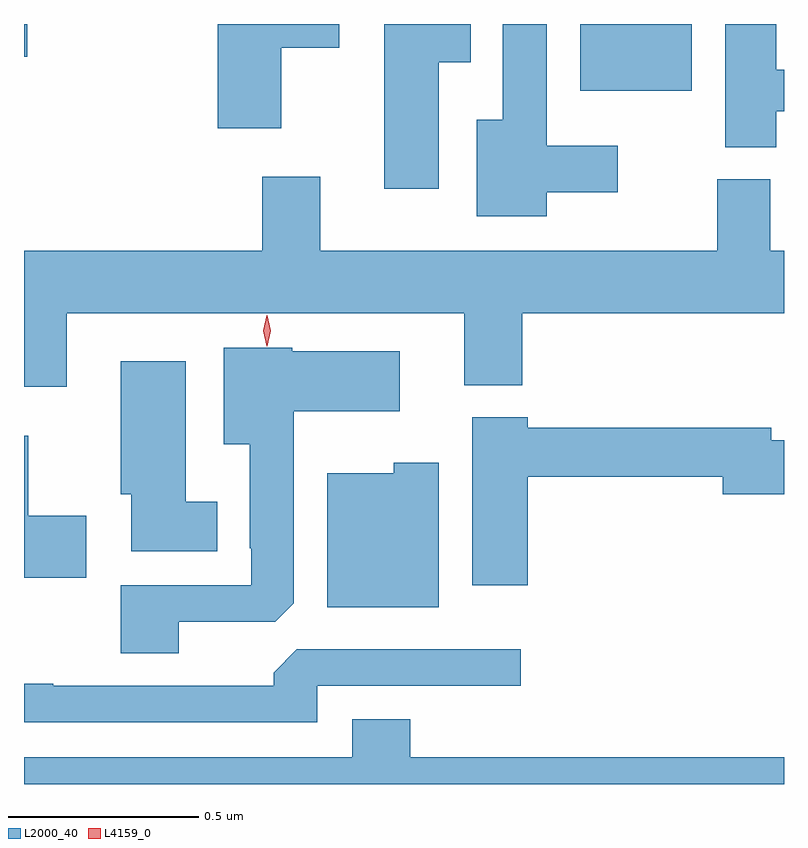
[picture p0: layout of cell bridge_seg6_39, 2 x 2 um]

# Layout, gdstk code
import gdstk
lib = gdstk.Library(unit=1e-6, precision=1e-09)
def R(c, l, rs):  # rectangles x0, y0, x1, y1
    for r in rs: c.add(gdstk.rectangle(r[:2], r[2:], *l))
def P(c, l, *ps):  # polygons
    for p in ps: c.add(gdstk.Polygon(p, *l))
L2000_40 = (2000, 40)
L4159_0 = (4159, 0)

bridge_seg6_39 = lib.new_cell('bridge_seg6_39')
R(bridge_seg6_39, L2000_40, [(1056.743,994.541,1057.036,994.717), (1055.279,994.631,1055.287,994.717)])
P(bridge_seg6_39, L2000_40, [(1057.258,994.487),(1057.279,994.487),(1057.279,994.597),(1057.258,994.597),(1057.258,994.717),(1057.124,994.717),(1057.124,994.393),(1057.258,994.393)],
  [(1056.37,994.616),(1056.454,994.616),(1056.454,994.717),(1056.227,994.717),(1056.227,994.284),(1056.37,994.284)],
  [(1055.956,994.654),(1056.109,994.654),(1056.109,994.717),(1055.789,994.717),(1055.789,994.443),(1055.956,994.443)],
  [(1056.655,994.274),(1056.841,994.274),(1056.841,994.396),(1056.655,994.396),(1056.655,994.717),(1056.539,994.717),(1056.539,994.465),(1056.47,994.465),(1056.47,994.211),(1056.655,994.211)],
  [(1055.392,993.956),(1056.437,993.956),(1056.437,993.767),(1056.59,993.767),(1056.59,993.956),(1057.279,993.956),(1057.279,994.12),(1057.243,994.12),(1057.243,994.308),(1057.103,994.308),(1057.103,994.12),(1056.058,994.12),(1056.058,994.315),(1055.906,994.315),(1055.906,994.12),(1055.279,994.12),(1055.279,993.762),(1055.392,993.762)],
  [(1055.686,993.144),(1055.94,993.144),(1055.989,993.193),(1055.989,993.698),(1056.268,993.698),(1056.268,993.856),(1055.985,993.856),(1055.985,993.865),(1055.804,993.865),(1055.804,993.611),(1055.873,993.611),(1055.873,993.337),(1055.877,993.337),(1055.877,993.24),(1055.534,993.24),(1055.534,993.061),(1055.686,993.061)],
  [(1055.788,993.46),(1055.704,993.46),(1055.704,993.829),(1055.534,993.829),(1055.534,993.48),(1055.561,993.48),(1055.561,993.329),(1055.788,993.329)],
  [(1056.605,993.526),(1057.118,993.526),(1057.118,993.479),(1057.279,993.479),(1057.279,993.621),(1057.246,993.621),(1057.246,993.655),(1056.605,993.655),(1056.605,993.682),(1056.458,993.682),(1056.458,993.24),(1056.605,993.24)],
  [(1055.443,993.423),(1055.29,993.423),(1055.29,993.634),(1055.279,993.634),(1055.279,993.26),(1055.443,993.26)],
  [(1056.37,993.562),(1056.252,993.562),(1056.252,993.535),(1056.077,993.535),(1056.077,993.182),(1056.37,993.182)],
  [(1056.051,992.976),(1056.586,992.976),(1056.586,993.072),(1055.997,993.072),(1055.936,993.01),(1055.936,992.976),(1055.356,992.976),(1055.356,992.981),(1055.279,992.981),(1055.279,992.88),(1056.051,992.88)],
  [(1055.279,992.717),(1057.279,992.717),(1057.279,992.788),(1056.296,992.788),(1056.296,992.887),(1056.143,992.887),(1056.143,992.788),(1055.279,992.788)])
P(bridge_seg6_39, L4159_0, [(1055.918,993.869),(1055.908,993.91),(1055.918,993.951),(1055.918,993.951),(1055.919,993.951),(1055.928,993.91),(1055.919,993.869),(1055.919,993.869)])

lib.write_gds('bridge_seg6_39.gds')
